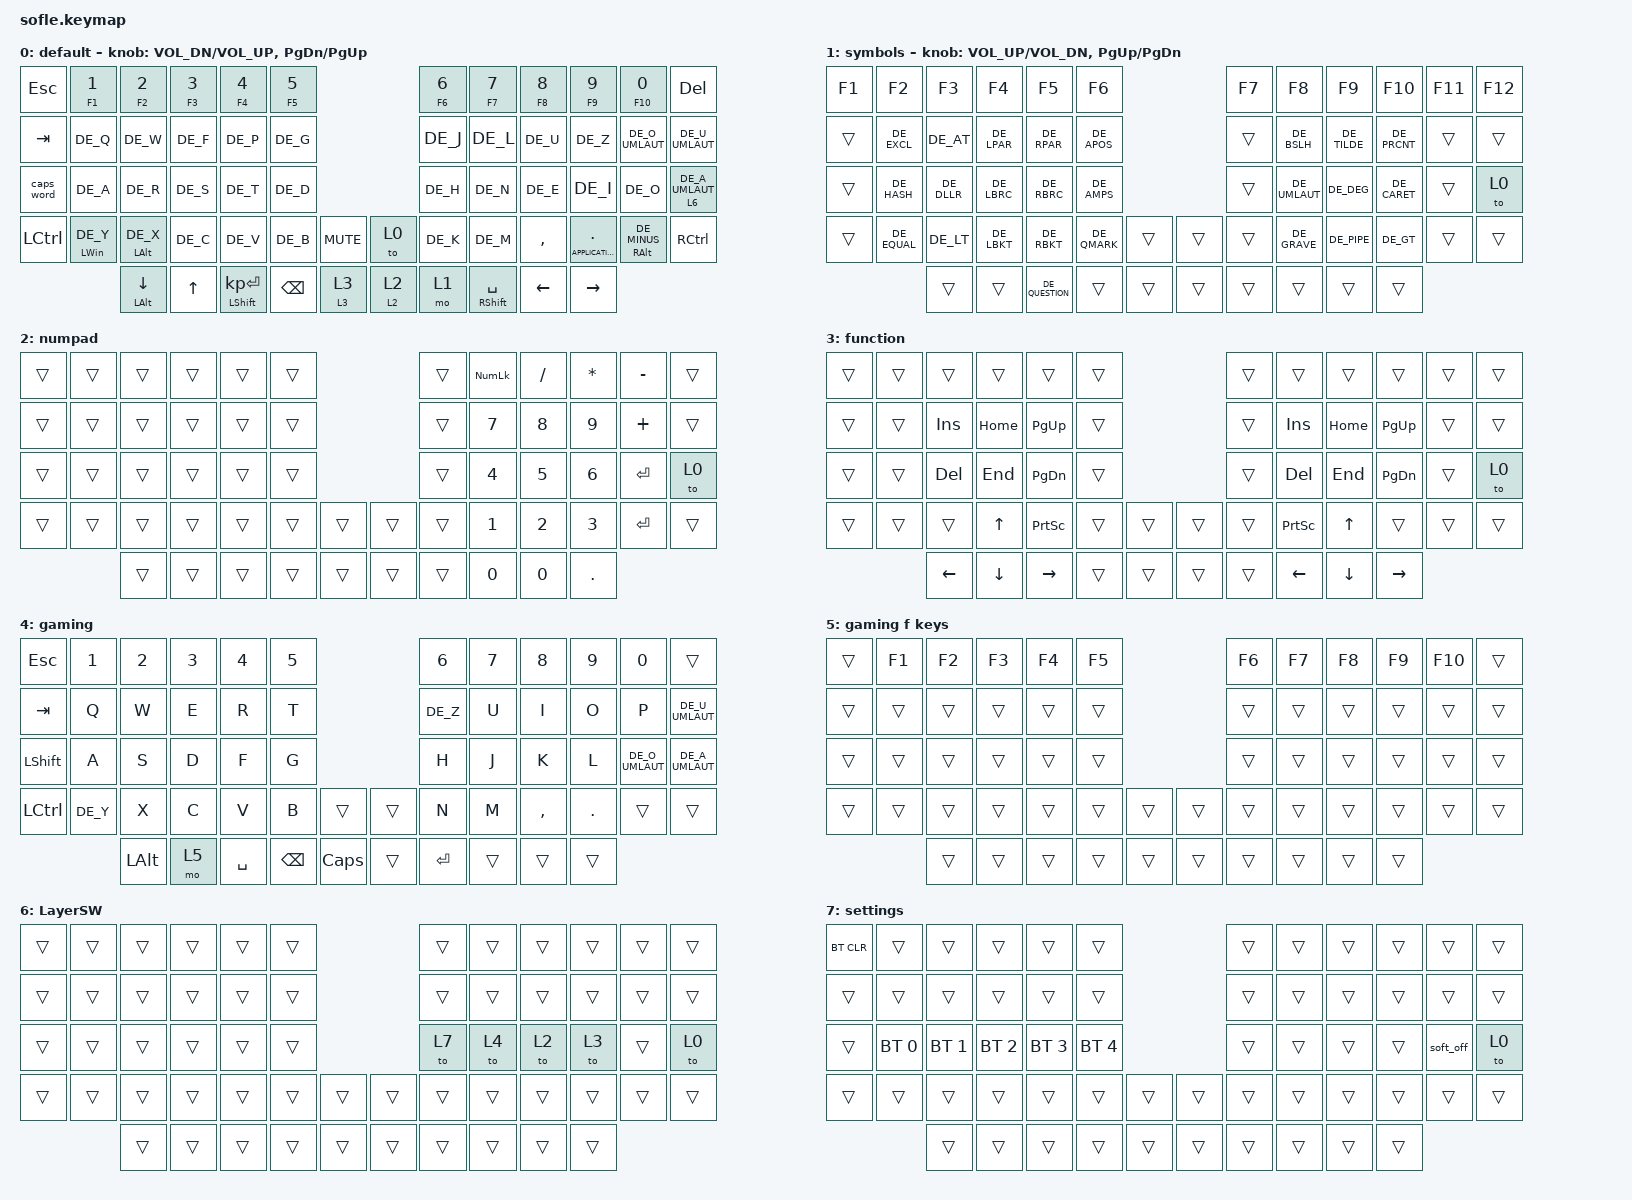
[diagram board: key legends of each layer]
/*
 * Copyright (c) 2020 The ZMK Contributors
 *
 * SPDX-License-Identifier: MIT
 */

#include "keys_de_swiss.h"
#include <behaviors.dtsi>
#include <dt-bindings/zmk/bt.h>
#include <dt-bindings/zmk/keys.h>

#define BASE 0
#define SYMBOLS 1
#define RAISE 2
#define ADJUST 3

/ {
    // Activate ADJUST layer by pressing raise and symbols

    conditional_layers { compatible = "zmk,conditional-layers"; };

    behaviors {
        mo_tog: mo_tog {
            compatible = "zmk,behavior-hold-tap";
            label = "MO_TOG";
            bindings = <&mo>, <&tog>;

            #binding-cells = <2>;
            tapping-term-ms = <200>;
        };

        home_row_shift: home_row_shift {
            compatible = "zmk,behavior-hold-tap";
            label = "HOME_ROW_SHIFT";
            bindings = <&kp>, <&kp>;

            #binding-cells = <2>;
            tapping-term-ms = <130>;
        };
    };

    keymap {
        compatible = "zmk,keymap";

        default_layer {
            label = "default";

            // ------------------------------------------------------------------------------------------------------------
            // |  ESC  |  1  |  2  |  3   |  4   |  5   |                   |  6   |  7    |  8    |  9   |   0   |  DEL  |
            // |  TAB  |  Q  |  W  |  F   |  P   |  G   |                   |  J   |  L    |  U    |  Z   |   Ö   |   Ü   |
            // | CAPS  |  A  |  R  |  S   |  T   |  D   |                   |  H   |  N    |  E    |  I   |   O   |   Ä   |
            // | SHIFT |  Y  |  X  |  C   |  V   |  B   |  MUTE  |  |       |  K   |  M    |  ,    |  .   |   /   | RCTRL |
            //               | CTRL| ALT  |SYMBLS| ENTER|  BKSPC |  | SPACE | RAISE| CTRL  | ALT   | GUI  |

            bindings = <
&kp ESC     &mt F1 N1                      &mt F2 N2                      &mt F3 N3     &mt F4 N4                            &mt F5 N5                                  &mt F6 N6  &mt F7 N7                          &mt F8 N8       &mt F9 N9                          &mt F10 N0                          &kp DEL
&kp TAB     &kp DE_Q                       &kp DE_W                       &kp DE_F      &kp DE_P                             &kp DE_G                                   &kp DE_J   &kp DE_L                           &kp DE_U        &kp DE_Z                           &kp DE_O_UMLAUT                     &kp DE_U_UMLAUT
&caps_word  &kp DE_A                       &kp DE_R                       &kp DE_S      &kp DE_T                             &kp DE_D                                   &kp DE_H   &kp DE_N                           &kp DE_E        &kp DE_I                           &kp DE_O                            &lt 6 DE_A_UMLAUT
&kp LCTRL   &home_row_shift LEFT_WIN DE_Y  &home_row_shift LEFT_ALT DE_X  &kp DE_C      &kp DE_V                             &kp DE_B       &kp C_MUTE     &to 0        &kp DE_K   &kp DE_M                           &kp COMMA       &home_row_shift K_APPLICATION DOT  &home_row_shift RIGHT_ALT DE_MINUS  &kp RCTRL
                                           &mt LEFT_ALT DOWN_ARROW        &kp UP_ARROW  &home_row_shift LEFT_SHIFT KP_ENTER  &kp BACKSPACE  &mo_tog 3 3    &mo_tog 2 2  &mo 1      &home_row_shift RIGHT_SHIFT SPACE  &kp LEFT_ARROW  &kp RIGHT_ARROW
            >;

            sensor-bindings =
                <&inc_dec_kp C_VOL_DN C_VOL_UP>,
                <&inc_dec_kp PG_DN PG_UP>;
        };

        symbols {
            label = "symbols";

            // TODO: Some binds are waiting for shifted keycode support.
            // ------------------------------------------------------------------------------------------------------------
            // |  F1   |  F2 |  F3 |  F4  |  F5  |  F6  |                   |  F7  |  F8   |  F9   |  F10  |  F11  |  F12  |
            // |       |  !  |  @  |  (   |  )   |  '   |                   |      |  \    |  ~    |   %   |       |       |
            // |       |  #  |  $  |  {   |  }   |  &   |                   |      |  ¨    |  °    |   ^   |       |       |
            // |       |  =  |  <  |  [   |  ]   |  ?   |        |  |       |      |  `    |  |    |   >   |       |       |
            //               |     |      |      |      |        |  |       |      |       |       |       |

            bindings = <
&kp F1  &kp F2        &kp F3       &kp F4       &kp F5           &kp F6                          &kp F7  &kp F8         &kp F9        &kp F10       &kp F11  &kp F12
&trans  &kp DE_EXCL   &kp DE_AT    &kp DE_LPAR  &kp DE_RPAR      &kp DE_APOS                     &trans  &kp DE_BSLH    &kp DE_TILDE  &kp DE_PRCNT  &trans   &trans
&trans  &kp DE_HASH   &kp DE_DLLR  &kp DE_LBRC  &kp DE_RBRC      &kp DE_AMPS                     &trans  &kp DE_UMLAUT  &kp DE_DEG    &kp DE_CARET  &trans   &to 0
&trans  &kp DE_EQUAL  &kp DE_LT    &kp DE_LBKT  &kp DE_RBKT      &kp DE_QMARK  &trans    &trans  &trans  &kp DE_GRAVE   &kp DE_PIPE   &kp DE_GT     &trans   &trans
                      &trans       &trans       &kp DE_QUESTION  &trans        &trans    &trans  &trans  &trans         &trans        &trans
            >;

            sensor-bindings = <&inc_dec_kp C_VOL_UP C_VOL_DN &inc_dec_kp PG_UP PG_DN>;
        };

        numpad {
            bindings = <
&trans  &trans  &trans  &trans  &trans  &trans                    &trans  &kp KP_NUMLOCK  &kp FSLH  &kp STAR  &kp MINUS  &trans
&trans  &trans  &trans  &trans  &trans  &trans                    &trans  &kp N7          &kp N8    &kp N9    &kp PLUS   &trans
&trans  &trans  &trans  &trans  &trans  &trans                    &trans  &kp N4          &kp N5    &kp N6    &kp RET    &to 0
&trans  &trans  &trans  &trans  &trans  &trans  &trans    &trans  &trans  &kp N1          &kp N2    &kp N3    &kp RET    &trans
                &trans  &trans  &trans  &trans  &trans    &trans  &trans  &kp N0          &kp N0    &kp DOT
            >;

            label = "numpad";
        };

        function {
            bindings = <
&trans  &trans  &trans      &trans    &trans           &trans                    &trans  &trans           &trans    &trans     &trans  &trans
&trans  &trans  &kp INSERT  &kp HOME  &kp PG_UP        &trans                    &trans  &kp INSERT       &kp HOME  &kp PG_UP  &trans  &trans
&trans  &trans  &kp DEL     &kp END   &kp PG_DN        &trans                    &trans  &kp DEL          &kp END   &kp PG_DN  &trans  &to 0
&trans  &trans  &trans      &kp UP    &kp PRINTSCREEN  &trans  &trans    &trans  &trans  &kp PRINTSCREEN  &kp UP    &trans     &trans  &trans
                &kp LEFT    &kp DOWN  &kp RIGHT        &trans  &trans    &trans  &trans  &kp LEFT         &kp DOWN  &kp RIGHT
            >;

            label = "function";
        };

        gaming {
            bindings = <
&kp ESC    &kp N1    &kp N2    &kp N3  &kp N4     &kp N5                                 &kp N6     &kp N7  &kp N8     &kp N9   &kp N0           &trans
&kp TAB    &kp Q     &kp W     &kp E   &kp R      &kp T                                  &kp DE_Z   &kp U   &kp I      &kp O    &kp P            &kp DE_U_UMLAUT
&kp LSHFT  &kp A     &kp S     &kp D   &kp F      &kp G                                  &kp H      &kp J   &kp K      &kp L    &kp DE_O_UMLAUT  &kp DE_A_UMLAUT
&kp LCTRL  &kp DE_Y  &kp X     &kp C   &kp V      &kp B          &trans          &trans  &kp N      &kp M   &kp COMMA  &kp DOT  &trans           &trans
                     &kp LALT  &mo 5   &kp SPACE  &kp BACKSPACE  &kp CAPSLOCK    &trans  &kp ENTER  &trans  &trans     &trans
            >;

            label = "gaming";
        };

        gaming_f_keys {
            bindings = <
&trans  &kp F1  &kp F2  &kp F3  &kp F4  &kp F5                    &kp F6  &kp F7  &kp F8  &kp F9  &kp F10  &trans
&trans  &trans  &trans  &trans  &trans  &trans                    &trans  &trans  &trans  &trans  &trans   &trans
&trans  &trans  &trans  &trans  &trans  &trans                    &trans  &trans  &trans  &trans  &trans   &trans
&trans  &trans  &trans  &trans  &trans  &trans  &trans    &trans  &trans  &trans  &trans  &trans  &trans   &trans
                &trans  &trans  &trans  &trans  &trans    &trans  &trans  &trans  &trans  &trans
            >;

            label = "gaming f keys";
        };

        LayerSW {
            bindings = <
&trans  &trans  &trans  &trans  &trans  &trans                    &trans  &trans  &trans  &trans  &trans  &trans
&trans  &trans  &trans  &trans  &trans  &trans                    &trans  &trans  &trans  &trans  &trans  &trans
&trans  &trans  &trans  &trans  &trans  &trans                    &to 7   &to 4   &to 2   &to 3   &trans  &to 0
&trans  &trans  &trans  &trans  &trans  &trans  &trans    &trans  &trans  &trans  &trans  &trans  &trans  &trans
                &trans  &trans  &trans  &trans  &trans    &trans  &trans  &trans  &trans  &trans
            >;
        };

        settings {
            bindings = <
&bt BT_CLR  &trans        &trans        &trans        &trans        &trans                          &trans  &trans  &trans  &trans  &trans     &trans
&trans      &trans        &trans        &trans        &trans        &trans                          &trans  &trans  &trans  &trans  &trans     &trans
&trans      &bt BT_SEL 0  &bt BT_SEL 1  &bt BT_SEL 2  &bt BT_SEL 3  &bt BT_SEL 4                    &trans  &trans  &trans  &trans  &soft_off  &to 0
&trans      &trans        &trans        &trans        &trans        &trans        &trans    &trans  &trans  &trans  &trans  &trans  &trans     &trans
                          &trans        &trans        &trans        &trans        &trans    &trans  &trans  &trans  &trans  &trans
            >;
        };
    };
};
